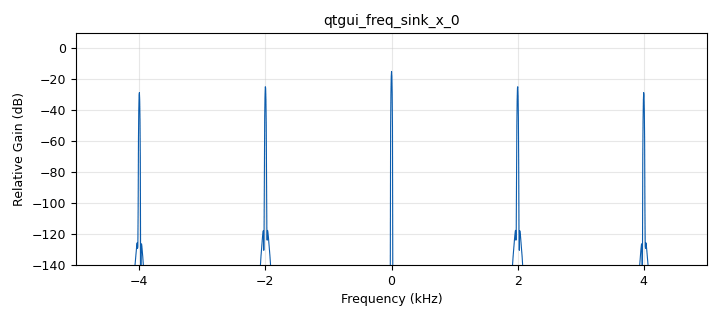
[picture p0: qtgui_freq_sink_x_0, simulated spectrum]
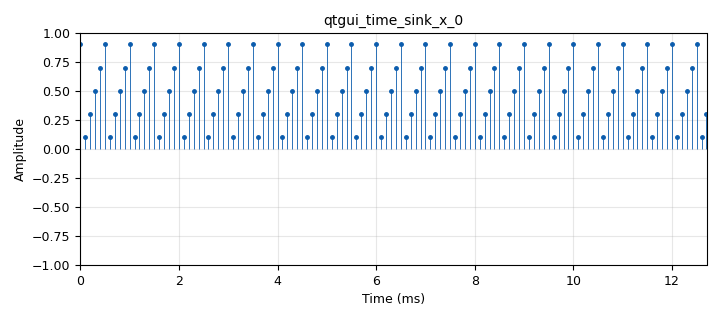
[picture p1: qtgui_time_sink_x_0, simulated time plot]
options:
  parameters:
    author: Duvan_Gomez_Jose_Delgado_E1A_G1
    generate_options: qt_gui
    id: Lab_comu_I
    output_language: python
    title: Primer Flujograma
  states: {}

blocks:
- name: amplitud
  id: variable_qtgui_range
  parameters:
    start: '0'
    step: '1'
    stop: '5'
    value: '0'
  states: {state: disabled}
- name: frecuency
  id: variable
  parameters:
    value: samp_rate/3
  states: {state: disabled}
- name: frecuency
  id: variable_qtgui_range
  parameters:
    start: '1000'
    step: '1000'
    stop: '40000'
    value: '2000'
  states: {}
- name: samp_rate
  id: variable
  parameters:
    value: '32000'
  states: {state: disabled}
- name: samp_rate
  id: variable_qtgui_range
  parameters:
    label: frecuencia de muestreo
    start: '1000'
    step: '1000'
    stop: '80000'
    value: '10000'
  states: {}
- name: analog_sig_source_x_0
  id: analog_sig_source_x
  parameters:
    amp: '1'
    freq: frecuency
    offset: '0'
    phase: '0'
    samp_rate: samp_rate
    type: float
    waveform: analog.GR_SAW_WAVE
  states: {}
- name: blocks_throttle_0
  id: blocks_throttle
  parameters:
    samples_per_second: samp_rate
    type: float
  states: {}
- name: qtgui_freq_sink_x_0
  id: qtgui_freq_sink_x
  parameters:
    bw: samp_rate
    fc: '0'
    fftsize: '2048'
    type: float
  states: {}
- name: qtgui_time_sink_x_0
  id: qtgui_time_sink_x
  parameters:
    size: '128'
    srate: samp_rate
    stemplot: 'True'
    type: float
  states: {}

connections:
- [analog_sig_source_x_0, '0', blocks_throttle_0, '0']
- [blocks_throttle_0, '0', qtgui_freq_sink_x_0, '0']
- [blocks_throttle_0, '0', qtgui_time_sink_x_0, '0']

metadata:
  file_format: 1
  grc_version: 3.9.8.0
